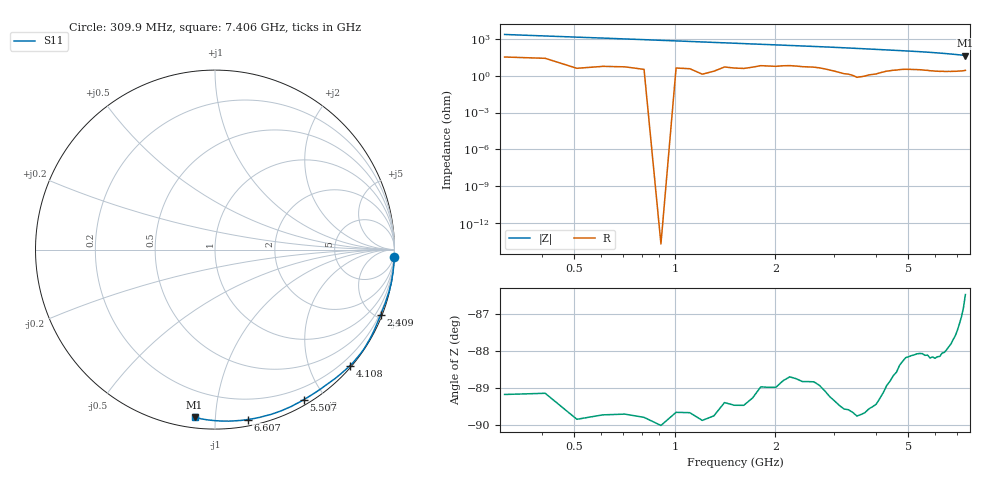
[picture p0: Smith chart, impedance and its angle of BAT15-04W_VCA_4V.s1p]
! Infineon Technologies  Discrete & RF Semiconductors
! BAT15-04W-E6327
! VCA = 4 V
! One-Port S-Parameters
# Hz  S  MA  R  50
!f  S11
!Hz  Mag  Ang
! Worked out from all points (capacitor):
!   72 points, 309.9 MHz to 7.406 GHz, reference 50 ohm
!   read as one part to ground: C = 225 fF near 309.9 MHz
!   lowest |Z| = 44.3 ohm at 7.406 GHz (marker M1)
!   S11 on the Smith chart (normalised r, x): 309.9 MHz: 1, -46; 2.409 GHz: 0.11, -5.27; 4.108 GHz: 0.03, -2.69; 5.507 GHz: 0.06, -1.75; 6.607 GHz: 0.04, -1.21; 7.406 GHz: 0.05, -0.88
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3.0985e8  0.9994 -2.5
9.0955e8  1 -7.5
1.2094e9  0.9996 -10.2
1.6092e9  0.9977 -13.8
2.10895e9  0.9933 -18.5
2.30885e9  0.9923 -20.4
2.4088e9  0.9924 -21.5
2.70865e9  0.9922 -24.3
3.0085e9  0.9947 -27.5
3.2084e9  0.9961 -29.8
3.50825e9  0.9976 -33.3
3.90805e9  0.9945 -38.2
4.10795e9  0.9917 -40.7
4.6077e9  0.9818 -47.0
4.8076e9  0.9772 -49.6
5.2074e9  0.9731 -55.0
5.50725e9  0.9712 -59.4
5.6072e9  0.9715 -60.9
5.70715e9  0.971 -62.5
5.90705e9  0.9709 -65.9
6.10695e9  0.9701 -69.4
6.4068e9  0.9672 -75.2
6.6067e9  0.9641 -79.2
6.8066e9  0.9605 -83.3
7.0065e9  0.9562 -87.6
7.2064e9  0.9501 -92.2
7.30635e9  0.9462 -94.6
7.4063e9  0.9405 -96.9
